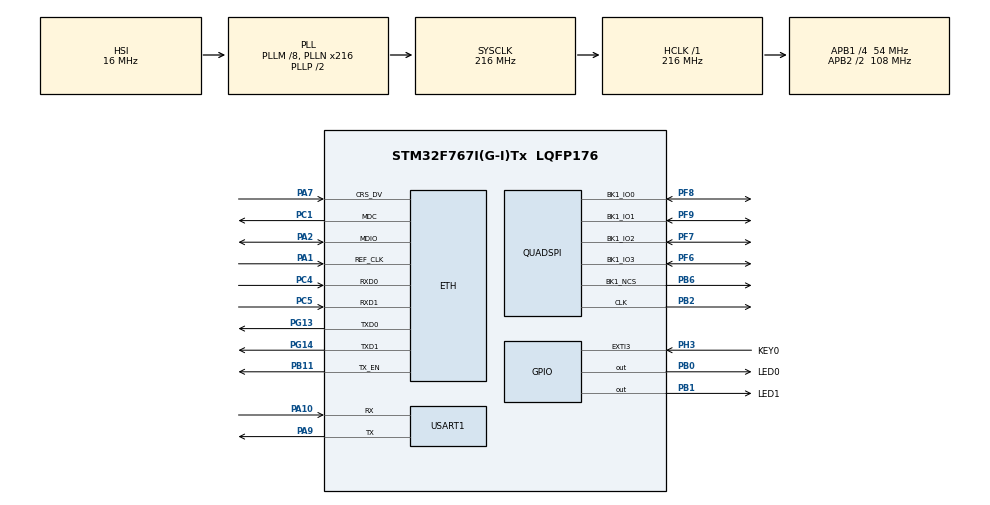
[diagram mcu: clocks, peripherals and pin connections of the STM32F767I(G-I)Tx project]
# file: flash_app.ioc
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CORTEX_M7.CPU_DCache=Enabled
CORTEX_M7.CPU_ICache=Enabled
Dma.Request0=USART1_TX
Dma.Request1=USART1_RX
Dma.USART1_RX.1.Direction=DMA_PERIPH_TO_MEMORY
Dma.USART1_RX.1.FIFOMode=DMA_FIFOMODE_DISABLE
Dma.USART1_RX.1.Instance=DMA2_Stream2
Dma.USART1_RX.1.MemDataAlignment=DMA_MDATAALIGN_BYTE
Dma.USART1_RX.1.MemInc=DMA_MINC_ENABLE
Dma.USART1_RX.1.Mode=DMA_NORMAL
Dma.USART1_RX.1.PeriphDataAlignment=DMA_PDATAALIGN_BYTE
Dma.USART1_RX.1.PeriphInc=DMA_PINC_DISABLE
Dma.USART1_RX.1.Priority=DMA_PRIORITY_LOW
Dma.USART1_TX.0.Direction=DMA_MEMORY_TO_PERIPH
Dma.USART1_TX.0.FIFOMode=DMA_FIFOMODE_DISABLE
Dma.USART1_TX.0.Instance=DMA2_Stream7
Dma.USART1_TX.0.MemDataAlignment=DMA_MDATAALIGN_BYTE
Dma.USART1_TX.0.MemInc=DMA_MINC_ENABLE
Dma.USART1_TX.0.Mode=DMA_NORMAL
Dma.USART1_TX.0.PeriphDataAlignment=DMA_PDATAALIGN_BYTE
Dma.USART1_TX.0.PeriphInc=DMA_PINC_DISABLE
Dma.USART1_TX.0.Priority=DMA_PRIORITY_LOW
ETH.MediaInterface=HAL_ETH_RMII_MODE
FREERTOS.Tasks01=defaultTask,0,4096,StartDefaultTask,Default,NULL,Dynamic,NULL,NULL;feedDogTask,-3,2048,StartTask02,Default,NULL,Dynamic,NULL,NULL
FREERTOS.configMINIMAL_STACK_SIZE=2048
FREERTOS.configTOTAL_HEAP_SIZE=102400
FREERTOS.configUSE_NEWLIB_REENTRANT=1
LWIP.BSP.number=1
LWIP.DEFAULT_THREAD_STACKSIZE=2048
LWIP.GATEWAY_ADDRESS=192.168.001.001
LWIP.IP_ADDRESS=192.168.001.010
LWIP.LWIP_ARP=1
LWIP.LWIP_DHCP=0
LWIP.NETMASK_ADDRESS=255.255.255.000
LWIP.SLIPIF_THREAD_STACKSIZE=2048
LWIP.TCPIP_THREAD_NAME="tcpip_thread1"
LWIP.TCPIP_THREAD_STACKSIZE=2048
LWIP.Version=v2.1.2_Cube
LWIP0.BSP.STBoard=false
LWIP0.BSP.api=BSP_COMPONENT_DRIVER
LWIP0.BSP.component=LAN8742
LWIP0.BSP.instance=LAN8742
LWIP0.BSP.name=Driver_PHY
LWIP0.BSP.semaphore=S_LAN8742
LWIP0.BSP.solution=LAN8742
Mcu.Family=STM32F7
Mcu.Name=STM32F767I(G-I)Tx
Mcu.Package=LQFP176
NVIC.DMA2_Stream2_IRQn=true\:5\:0\:false\:false\:true\:true\:false\:true\:true
NVIC.DMA2_Stream7_IRQn=true\:5\:0\:false\:false\:true\:true\:false\:true\:true
NVIC.ETH_IRQn=true\:5\:0\:false\:false\:true\:true\:false\:true\:true
NVIC.EXTI3_IRQn=true\:5\:0\:false\:false\:true\:true\:true\:true\:true
NVIC.PriorityGroup=NVIC_PRIORITYGROUP_4
NVIC.TIM1_UP_TIM10_IRQn=true\:15\:0\:false\:false\:true\:false\:false\:true\:true
NVIC.TimeBase=TIM1_UP_TIM10_IRQn
NVIC.TimeBaseIP=TIM10
NVIC.USART1_IRQn=true\:5\:0\:false\:false\:true\:true\:true\:true\:true
PA1.Mode=RMII
PA1.Signal=ETH_REF_CLK
PA10.Mode=Asynchronous
PA10.Signal=USART1_RX
PA13.Mode=Trace_Synchro_4bits_JTAG
PA13.Signal=SYS_JTMS-SWDIO
PA14.Mode=Trace_Synchro_4bits_JTAG
PA14.Signal=SYS_JTCK-SWCLK
PA15.Mode=Trace_Synchro_4bits_JTAG
PA15.Signal=SYS_JTDI
PA2.Mode=RMII
PA2.Signal=ETH_MDIO
PA7.Mode=RMII
PA7.Signal=ETH_CRS_DV
PA9.Mode=Asynchronous
PA9.Signal=USART1_TX
PB0.GPIO_Label=LED0
PB0.PinState=GPIO_PIN_SET
PB0.Signal=GPIO_Output
PB1.GPIO_Label=LED1
PB1.PinState=GPIO_PIN_SET
PB1.Signal=GPIO_Output
PB11.Mode=RMII
PB11.Signal=ETH_TX_EN
PB2.Mode=Single Bank 1
PB2.Signal=QUADSPI_CLK
PB3.Mode=Trace_Synchro_4bits_JTAG
PB3.Signal=SYS_JTDO-SWO
PB6.Mode=Single Bank 1
PB6.Signal=QUADSPI_BK1_NCS
PC1.Mode=RMII
PC1.Signal=ETH_MDC
PC14/OSC32_IN.Mode=LSE-External-Oscillator
PC14/OSC32_IN.Signal=RCC_OSC32_IN
PC15/OSC32_OUT.Mode=LSE-External-Oscillator
PC15/OSC32_OUT.Signal=RCC_OSC32_OUT
PC4.Mode=RMII
PC4.Signal=ETH_RXD0
PC5.Mode=RMII
PC5.Signal=ETH_RXD1
PE2.Mode=Trace_Synchro_4bits_JTAG
PE2.Signal=SYS_TRACECLK
PE3.Mode=Trace_Synchro_4bits_JTAG
PE3.Signal=SYS_TRACED0
PE4.Mode=Trace_Synchro_4bits_JTAG
PE4.Signal=SYS_TRACED1
PE5.Mode=Trace_Synchro_4bits_JTAG
PE5.Signal=SYS_TRACED2
PE6.Mode=Trace_Synchro_4bits_JTAG
PE6.Signal=SYS_TRACED3
PF6.Mode=Single Bank 1
PF6.Signal=QUADSPI_BK1_IO3
PF7.Mode=Single Bank 1
PF7.Signal=QUADSPI_BK1_IO2
PF8.Mode=Single Bank 1
PF8.Signal=QUADSPI_BK1_IO0
PF9.Mode=Single Bank 1
PF9.Signal=QUADSPI_BK1_IO1
PG13.Mode=RMII
PG13.Signal=ETH_TXD0
PG14.Mode=RMII
PG14.Signal=ETH_TXD1
PH0/OSC_IN.Mode=HSE-External-Oscillator
PH0/OSC_IN.Signal=RCC_OSC_IN
PH1/OSC_OUT.Mode=HSE-External-Oscillator
PH1/OSC_OUT.Signal=RCC_OSC_OUT
PH3.GPIO_Label=KEY0
PH3.GPIO_ModeDefaultEXTI=GPIO_MODE_IT_FALLING
PH3.GPIO_PuPd=GPIO_PULLUP
PH3.Signal=GPXTI3
ProjectManager.HeapSize=0x2000
ProjectManager.StackSize=0x2000
ProjectManager.TargetToolchain=STM32CubeIDE
QUADSPI.ChipSelectHighTime=QSPI_CS_HIGH_TIME_5_CYCLE
QUADSPI.ClockPrescaler=1
QUADSPI.FifoThreshold=32
QUADSPI.FlashSize=24
QUADSPI.SampleShifting=QSPI_SAMPLE_SHIFTING_HALFCYCLE
RCC.AHBFreq_Value=216000000
RCC.APB1CLKDivider=RCC_HCLK_DIV4
RCC.APB1Freq_Value=54000000
RCC.APB1TimFreq_Value=108000000
RCC.APB2CLKDivider=RCC_HCLK_DIV2
RCC.APB2Freq_Value=108000000
RCC.APB2TimFreq_Value=216000000
RCC.CortexFreq_Value=216000000
RCC.HCLKFreq_Value=216000000
RCC.HSE_VALUE=25000000
RCC.HSI_VALUE=16000000
RCC.PLLM=8
RCC.PLLN=216
RCC.SYSCLKFreq_VALUE=216000000
RCC.SYSCLKSource=RCC_SYSCLKSOURCE_PLLCLK
RCC.USART1CLockSelection=RCC_USART1CLKSOURCE_SYSCLK
RCC.USBFreq_Value=216000000
RCC.VCOOutputFreq_Value=432000000
USART1.VirtualMode-Asynchronous=VM_ASYNC
VP_FREERTOS_VS_CMSIS_V1.Mode=CMSIS_V1
VP_LWIP_VS_Enabled.Mode=Enabled
VP_SYS_VS_tim10.Mode=TIM10
board=custom

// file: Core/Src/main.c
/* USER CODE BEGIN Header */
/**
  ******************************************************************************
  * @file           : main.c
  * @brief          : Main program body
  ******************************************************************************
  * @attention
  *
  * Copyright (c) 2024 STMicroelectronics.
  * All rights reserved.
  *
  * This software is licensed under terms that can be found in the LICENSE file
  * in the root directory of this software component.
  * If no LICENSE file comes with this software, it is provided AS-IS.
  *
  ******************************************************************************
  */
/* USER CODE END Header */
#include "main.h"
#include "cmsis_os.h"
#include "dma.h"
#include "lwip.h"
#include "quadspi.h"
#include "usart.h"
#include "gpio.h"

/* USER CODE BEGIN Includes */
#include "pcf8574.h"
#include "delay.h"
/* USER CODE END Includes */

void SystemClock_Config(void);
void MX_FREERTOS_Init(void);

int main(void)
{
  /* USER CODE BEGIN 1 */
  SCB->VTOR = FLASH_BASE | 0x40000;
  /* USER CODE END 1 */
/* Enable the CPU Cache */

  /* Enable I-Cache---------------------------------------------------------*/
  SCB_EnableICache();

  /* Enable D-Cache---------------------------------------------------------*/
  SCB_EnableDCache();

  /* MCU Configuration--------------------------------------------------------*/

  /* Reset of all peripherals, Initializes the Flash interface and the Systick. */
  HAL_Init();

  /* Configure the system clock */
  SystemClock_Config();

  /* USER CODE BEGIN SysInit */
  SCB->CACR|=1<<2;  //强制D-Cache�?写,如�?开�?�,实际使用中�?�能�?�到�?��?问题
  delay_init();
  /* USER CODE END SysInit */

  /* Initialize all configured peripherals */
  MX_GPIO_Init();
  MX_DMA_Init();
  MX_USART1_UART_Init();
  //MX_QUADSPI_Init();
  /* USER CODE BEGIN 2 */
  PCF8574_Init();
	PCF8574_WriteBit(ETH_RESET_IO,1);
	delay_ms(100);
	PCF8574_WriteBit(ETH_RESET_IO,0);
	delay_ms(100);
  /* USER CODE END 2 */

  /* Call init function for freertos objects (in freertos.c) */
  MX_FREERTOS_Init();

  /* Start scheduler */
  osKernelStart();

  /* We should never get here as control is now taken by the scheduler */
  /* Infinite loop */
  while (1)
  {

  }
}

void SystemClock_Config(void)
{
  RCC_OscInitTypeDef RCC_OscInitStruct = {0};
  RCC_ClkInitTypeDef RCC_ClkInitStruct = {0};

  /** Configure LSE Drive Capability
  */
  HAL_PWR_EnableBkUpAccess();

  /** Configure the main internal regulator output voltage
  */
  __HAL_RCC_PWR_CLK_ENABLE();
  __HAL_PWR_VOLTAGESCALING_CONFIG(PWR_REGULATOR_VOLTAGE_SCALE1);

  /** Initializes the RCC Oscillators according to the specified parameters
  * in the RCC_OscInitTypeDef structure.
  */
  RCC_OscInitStruct.OscillatorType = RCC_OSCILLATORTYPE_HSI;
  RCC_OscInitStruct.HSIState = RCC_HSI_ON;
  RCC_OscInitStruct.HSICalibrationValue = RCC_HSICALIBRATION_DEFAULT;
  RCC_OscInitStruct.PLL.PLLState = RCC_PLL_ON;
  RCC_OscInitStruct.PLL.PLLSource = RCC_PLLSOURCE_HSI;
  RCC_OscInitStruct.PLL.PLLM = 8;
  RCC_OscInitStruct.PLL.PLLN = 216;
  RCC_OscInitStruct.PLL.PLLP = RCC_PLLP_DIV2;
  RCC_OscInitStruct.PLL.PLLQ = 2;
  RCC_OscInitStruct.PLL.PLLR = 2;
  if (HAL_RCC_OscConfig(&RCC_OscInitStruct) != HAL_OK)
  {
    Error_Handler();
  }

  /** Activate the Over-Drive mode
  */
  if (HAL_PWREx_EnableOverDrive() != HAL_OK)
  {
    Error_Handler();
  }

  /** Initializes the CPU, AHB and APB buses clocks
  */
  RCC_ClkInitStruct.ClockType = RCC_CLOCKTYPE_HCLK|RCC_CLOCKTYPE_SYSCLK
                              |RCC_CLOCKTYPE_PCLK1|RCC_CLOCKTYPE_PCLK2;
  RCC_ClkInitStruct.SYSCLKSource = RCC_SYSCLKSOURCE_PLLCLK;
  RCC_ClkInitStruct.AHBCLKDivider = RCC_SYSCLK_DIV1;
  RCC_ClkInitStruct.APB1CLKDivider = RCC_HCLK_DIV4;
  RCC_ClkInitStruct.APB2CLKDivider = RCC_HCLK_DIV2;

  if (HAL_RCC_ClockConfig(&RCC_ClkInitStruct, FLASH_LATENCY_7) != HAL_OK)
  {
    Error_Handler();
  }
}

void HAL_TIM_PeriodElapsedCallback(TIM_HandleTypeDef *htim)
{
  if (htim->Instance == TIM10) {
    HAL_IncTick();
  }
}

void Error_Handler(void)
{
  __disable_irq();
  while (1)
  {
  }
}

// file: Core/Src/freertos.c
/* USER CODE BEGIN Header */
/**
  ******************************************************************************
  * File Name          : freertos.c
  * Description        : Code for freertos applications
  ******************************************************************************
  * @attention
  *
  * Copyright (c) 2024 STMicroelectronics.
  * All rights reserved.
  *
  * This software is licensed under terms that can be found in the LICENSE file
  * in the root directory of this software component.
  * If no LICENSE file comes with this software, it is provided AS-IS.
  *
  ******************************************************************************
  */
/* USER CODE END Header */

#include "FreeRTOS.h"
#include "task.h"
#include "main.h"
#include "cmsis_os.h"

/* USER CODE BEGIN Includes */
#include "pcf8574.h"
#include <stdio.h>
#include "w25q256.h"
#include <stdbool.h>
#include "usart.h"
/* USER CODE END Includes */

/* USER CODE BEGIN PD */
const u8 TEXT_Buffer[]={"New SP Embeded QSPI TEST"};
#define SIZE sizeof(TEXT_Buffer)
/* USER CODE END PD */

/* USER CODE BEGIN Variables */
osThreadId dmaReceiveTaskHandle;
/* USER CODE END Variables */
osThreadId defaultTaskHandle;
osThreadId feedDogTaskHandle;

/* USER CODE BEGIN FunctionPrototypes */
void test_w25Q256(void){
  u32 flash_size=32*1024*1024;	//FLASH 大�?为32M字节
  u8 datatemp[SIZE] = {0};
  printf("Start write data to W25Q256.... \r\n");
  W25Q256_Write((u8*)TEXT_Buffer,flash_size-100,SIZE);
  printf("W25Q256 Write Finished!\r\n");	//�??示传�?完�?
  printf("Start Read W25Q256.... \r\n");
  W25Q256_Read(datatemp, flash_size-100, SIZE);					//从倒数第100个地�?�处开始,读出SIZE个字节
  printf("Get data from w25Q256: %s\r\n", datatemp);
}

// void StartTask03(void const * argument);
/* USER CODE END FunctionPrototypes */

void StartDefaultTask(void const * argument);
void StartTask02(void const * argument);

extern void MX_LWIP_Init(void);
void MX_FREERTOS_Init(void); /* (MISRA C 2004 rule 8.1) */

/* GetIdleTaskMemory prototype (linked to static allocation support) */
void vApplicationGetIdleTaskMemory( StaticTask_t **ppxIdleTaskTCBBuffer, StackType_t **ppxIdleTaskStackBuffer, uint32_t *pulIdleTaskStackSize );

/* USER CODE BEGIN GET_IDLE_TASK_MEMORY */
static StaticTask_t xIdleTaskTCBBuffer;
static StackType_t xIdleStack[configMINIMAL_STACK_SIZE];

void vApplicationGetIdleTaskMemory( StaticTask_t **ppxIdleTaskTCBBuffer, StackType_t **ppxIdleTaskStackBuffer, uint32_t *pulIdleTaskStackSize )
{
  *ppxIdleTaskTCBBuffer = &xIdleTaskTCBBuffer;
  *ppxIdleTaskStackBuffer = &xIdleStack[0];
  *pulIdleTaskStackSize = configMINIMAL_STACK_SIZE;
  /* place for user code */
}
/* USER CODE END GET_IDLE_TASK_MEMORY */

void MX_FREERTOS_Init(void) {

  /* Create the thread(s) */
  /* definition and creation of defaultTask */
  osThreadDef(defaultTask, StartDefaultTask, osPriorityNormal, 0, 4096);
  defaultTaskHandle = osThreadCreate(osThread(defaultTask), NULL);

  /* definition and creation of feedDogTask */
  osThreadDef(feedDogTask, StartTask02, osPriorityIdle, 0, 2048);
  feedDogTaskHandle = osThreadCreate(osThread(feedDogTask), NULL);

  /* USER CODE BEGIN RTOS_THREADS */
  /* add threads, ... */
//  osThreadDef(dmaReceiveTask, StartTask03, osPriorityIdle, 0, 2048);
//  dmaReceiveTaskHandle = osThreadCreate(osThread(dmaReceiveTask), NULL);
  /* USER CODE END RTOS_THREADS */

}

void StartDefaultTask(void const * argument)
{
  /* init code for LWIP */
  MX_LWIP_Init();
  /* USER CODE BEGIN StartDefaultTask */
  /* Infinite loop */

  printf("flashapp defult task started!!!\r\n");

  for(;;)
  {
	  HAL_GPIO_WritePin(GPIOB, LED1_Pin, GPIO_PIN_SET);
	  osDelay(500);
	  HAL_GPIO_WritePin(GPIOB, LED1_Pin, GPIO_PIN_RESET);
	  osDelay(500);

	  printf("hello flashApp\r\n");

  }
  /* USER CODE END StartDefaultTask */
}

void StartTask02(void const * argument)
{
  for(;;)
  {
  }
}

/* USER CODE BEGIN Application */
// void StartTask03(void const * argument)
// {
//   while(1){
//     //do nothing
//   }

// }

void HAL_UART_RxCpltCallback(UART_HandleTypeDef *huart){

}
/* USER CODE END Application */
